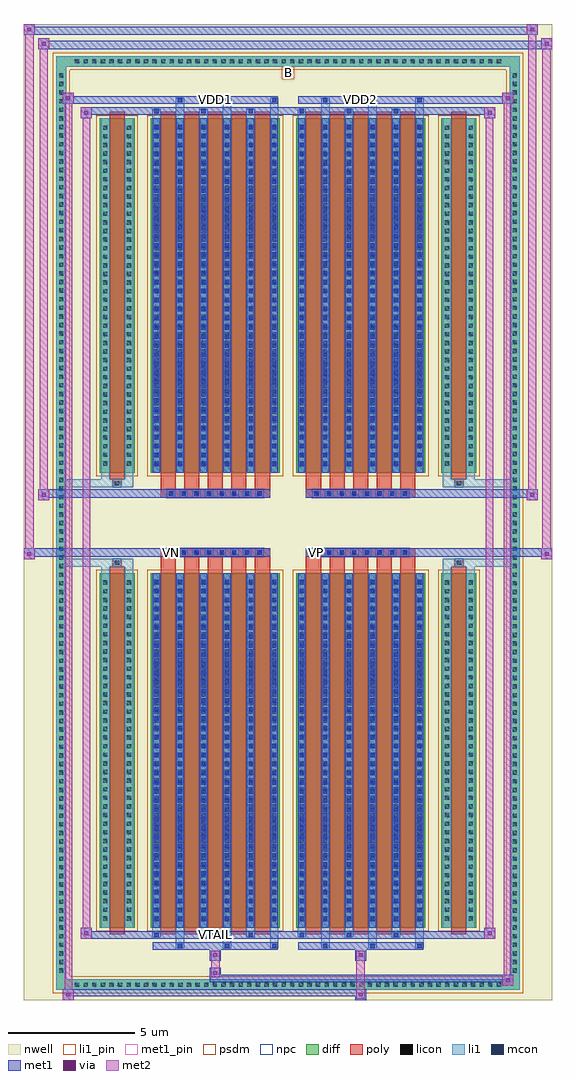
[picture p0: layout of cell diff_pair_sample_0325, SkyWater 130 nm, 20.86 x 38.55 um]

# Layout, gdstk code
import gdstk
lib = gdstk.Library(unit=1e-6, precision=5e-09)
def R(c, l, rs):  # rectangles x0, y0, x1, y1
    for r in rs: c.add(gdstk.rectangle(r[:2], r[2:], *l))
def A(c, l, x, y, w, h, nx, ny, dx, dy):  # array of equal rectangles
    R(c, l, [(x+i*dx, y+j*dy, x+i*dx+w, y+j*dy+h) for i in range(nx) for j in range(ny)])
def P(c, l, *ps):  # polygons
    for p in ps: c.add(gdstk.Polygon(p, *l))
nwell = (64, 20)
diff = (65, 20)
poly = (66, 20)
licon = (66, 44)
li1_pin = (67, 16)
li1 = (67, 20)
mcon = (67, 44)
met1_pin = (68, 16)
met1 = (68, 20)
via = (68, 44)
met2 = (69, 20)
psdm = (94, 20)
npc = (95, 20)

diff_pair_sample_0325 = lib.new_cell('diff_pair_sample_0325')
R(diff_pair_sample_0325, nwell, [(-10.43,-18.84,10.43,19.71), (-7.75,-17.03,-0.01,-0.805), (0.01,-17.03,7.75,-0.805), (-7.75,0.805,-0.01,17.03), (0.01,0.805,7.75,17.03)])
A(diff_pair_sample_0325, diff, -8.535, -18.44, 0.41, 0.41, 50, 2, 0.34, 36.47)
A(diff_pair_sample_0325, diff, -9.16, -17.885, 0.41, 0.41, 1, 105, 0, 0.34)
A(diff_pair_sample_0325, diff, 8.75, -17.885, 0.41, 0.41, 1, 105, 0, 0.34)
R(diff_pair_sample_0325, diff, [(-8.535,-18.44,8.535,-18.03), (-9.16,-17.885,-8.75,17.885), (8.75,-17.885,9.16,17.885), (-7.44,-15.985,-6.06,-1.985), (-5.42,-15.985,-0.32,-1.985), (0.32,-15.985,5.42,-1.985), (6.06,-15.985,7.44,-1.985), (-7.44,1.985,-6.06,15.985), (-5.42,1.985,-0.32,15.985), (0.32,1.985,5.42,15.985), (6.06,1.985,7.44,15.985), (-8.535,18.03,8.535,18.44)])
P(diff_pair_sample_0325, diff, [(9.16,18.44),(-9.16,18.44),(-9.16,-18.03),(-8.75,-18.03),(-8.75,18.03),(8.75,18.03),(8.75,-18.03),(-8.75,-18.03),(-9.16,-18.03),(-9.16,-18.44),(9.16,-18.44)])
A(diff_pair_sample_0325, poly, -5.03, -16.235, 0.6, 14.5, 5, 2, 0.93, 17.97)
A(diff_pair_sample_0325, poly, 0.71, -16.235, 0.6, 14.5, 5, 2, 0.93, 17.97)
A(diff_pair_sample_0325, poly, -5.03, -1.735, 0.6, 0.4, 5, 2, 0.93, 3.07)
A(diff_pair_sample_0325, poly, 0.71, -1.735, 0.6, 0.4, 5, 2, 0.93, 3.07)
A(diff_pair_sample_0325, poly, -4.785, -1.335, 0.33, 0.33, 8, 2, 0.5, 2.34)
A(diff_pair_sample_0325, poly, 0.955, -1.335, 0.33, 0.33, 8, 2, 0.5, 2.34)
R(diff_pair_sample_0325, poly, [(-7.05,-16.235,-6.45,-1.735), (6.45,-16.235,7.05,-1.735), (-6.915,-1.735,-6.585,-1.405), (-6.915,-1.735,-6.585,-1.405), (6.585,-1.735,6.915,-1.405), (6.585,-1.735,6.915,-1.405), (-5.03,-1.335,-0.71,-1.005), (0.71,-1.335,5.03,-1.005), (-5.03,1.005,-0.71,1.335), (0.71,1.005,5.03,1.335), (-6.915,1.405,-6.585,1.735), (-6.915,1.405,-6.585,1.735), (6.585,1.405,6.915,1.735), (6.585,1.405,6.915,1.735), (-7.05,1.735,-6.45,16.235), (6.45,1.735,7.05,16.235)])
A(diff_pair_sample_0325, licon, -8.415, -18.32, 0.17, 0.17, 50, 2, 0.34, 36.47)
A(diff_pair_sample_0325, licon, -9.04, -17.765, 0.17, 0.17, 1, 105, 0, 0.34)
A(diff_pair_sample_0325, licon, 8.87, -17.765, 0.17, 0.17, 1, 105, 0, 0.34)
A(diff_pair_sample_0325, licon, -7.3, -15.7, 0.17, 0.17, 1, 40, 0, 0.34)
A(diff_pair_sample_0325, licon, -6.37, -15.7, 0.17, 0.17, 1, 40, 0, 0.34)
A(diff_pair_sample_0325, licon, -5.28, -15.7, 0.17, 0.17, 6, 40, 0.93, 0.34)
A(diff_pair_sample_0325, licon, 0.46, -15.7, 0.17, 0.17, 6, 40, 0.93, 0.34)
A(diff_pair_sample_0325, licon, 6.2, -15.7, 0.17, 0.17, 1, 40, 0, 0.34)
A(diff_pair_sample_0325, licon, 7.13, -15.7, 0.17, 0.17, 1, 40, 0, 0.34)
A(diff_pair_sample_0325, licon, -4.705, -1.255, 0.17, 0.17, 8, 2, 0.5, 2.34)
A(diff_pair_sample_0325, licon, 1.035, -1.255, 0.17, 0.17, 8, 2, 0.5, 2.34)
A(diff_pair_sample_0325, licon, -7.3, 2.27, 0.17, 0.17, 1, 40, 0, 0.34)
A(diff_pair_sample_0325, licon, -6.37, 2.27, 0.17, 0.17, 1, 40, 0, 0.34)
A(diff_pair_sample_0325, licon, -5.28, 2.27, 0.17, 0.17, 6, 40, 0.93, 0.34)
A(diff_pair_sample_0325, licon, 0.46, 2.27, 0.17, 0.17, 6, 40, 0.93, 0.34)
A(diff_pair_sample_0325, licon, 6.2, 2.27, 0.17, 0.17, 1, 40, 0, 0.34)
A(diff_pair_sample_0325, licon, 7.13, 2.27, 0.17, 0.17, 1, 40, 0, 0.34)
R(diff_pair_sample_0325, licon, [(-6.835,-1.655,-6.665,-1.485), (6.665,-1.655,6.835,-1.485), (-6.835,1.485,-6.665,1.655), (6.665,1.485,6.835,1.655)])
R(diff_pair_sample_0325, li1_pin, [(-0.25,17.53,0.25,18.03)])
A(diff_pair_sample_0325, li1, -8.495, -18.4, 0.33, 0.33, 50, 2, 0.34, 36.47)
A(diff_pair_sample_0325, li1, -9.12, -17.845, 0.33, 0.33, 1, 105, 0, 0.34)
A(diff_pair_sample_0325, li1, 8.79, -17.845, 0.33, 0.33, 1, 105, 0, 0.34)
A(diff_pair_sample_0325, li1, -4.43, -16.79, 0.33, 0.805, 3, 2, 1.86, 32.775)
A(diff_pair_sample_0325, li1, -4.35, -16.79, 0.17, 0.17, 3, 2, 1.86, 33.41)
A(diff_pair_sample_0325, li1, 1.31, -16.79, 0.33, 0.805, 3, 2, 1.86, 32.775)
A(diff_pair_sample_0325, li1, 1.39, -16.79, 0.17, 0.17, 3, 2, 1.86, 33.41)
A(diff_pair_sample_0325, li1, -5.36, -16.36, 0.33, 0.375, 3, 2, 1.86, 32.345)
A(diff_pair_sample_0325, li1, -5.28, -16.36, 0.17, 0.17, 3, 2, 1.86, 32.55)
A(diff_pair_sample_0325, li1, 0.38, -16.36, 0.33, 0.375, 3, 2, 1.86, 32.345)
A(diff_pair_sample_0325, li1, 0.46, -16.36, 0.17, 0.17, 3, 2, 1.86, 32.55)
A(diff_pair_sample_0325, li1, -5.36, -15.985, 0.33, 14, 6, 2, 0.93, 17.97)
A(diff_pair_sample_0325, li1, 0.38, -15.985, 0.33, 14, 6, 2, 0.93, 17.97)
A(diff_pair_sample_0325, li1, -7.38, -15.78, 0.33, 0.33, 1, 40, 0, 0.34)
A(diff_pair_sample_0325, li1, -6.45, -15.78, 0.33, 0.33, 1, 40, 0, 0.34)
A(diff_pair_sample_0325, li1, -5.36, -15.78, 0.33, 0.33, 6, 40, 0.93, 0.34)
A(diff_pair_sample_0325, li1, 0.38, -15.78, 0.33, 0.33, 6, 40, 0.93, 0.34)
A(diff_pair_sample_0325, li1, 6.12, -15.78, 0.33, 0.33, 1, 40, 0, 0.34)
A(diff_pair_sample_0325, li1, 7.05, -15.78, 0.33, 0.33, 1, 40, 0, 0.34)
A(diff_pair_sample_0325, li1, -5.28, -15.73, 0.17, 0.17, 6, 38, 0.93, 0.36)
A(diff_pair_sample_0325, li1, -5.28, -15.73, 0.17, 13.49, 6, 2, 0.93, 17.97)
A(diff_pair_sample_0325, li1, 0.46, -15.73, 0.17, 0.17, 6, 38, 0.93, 0.36)
A(diff_pair_sample_0325, li1, 0.46, -15.73, 0.17, 13.49, 6, 2, 0.93, 17.97)
A(diff_pair_sample_0325, li1, -4.785, -1.335, 0.33, 0.33, 8, 2, 0.5, 2.34)
A(diff_pair_sample_0325, li1, 0.955, -1.335, 0.33, 0.33, 8, 2, 0.5, 2.34)
A(diff_pair_sample_0325, li1, -7.38, 2.19, 0.33, 0.33, 1, 40, 0, 0.34)
A(diff_pair_sample_0325, li1, -6.45, 2.19, 0.33, 0.33, 1, 40, 0, 0.34)
A(diff_pair_sample_0325, li1, -5.36, 2.19, 0.33, 0.33, 6, 40, 0.93, 0.34)
A(diff_pair_sample_0325, li1, 0.38, 2.19, 0.33, 0.33, 6, 40, 0.93, 0.34)
A(diff_pair_sample_0325, li1, 6.12, 2.19, 0.33, 0.33, 1, 40, 0, 0.34)
A(diff_pair_sample_0325, li1, 7.05, 2.19, 0.33, 0.33, 1, 40, 0, 0.34)
A(diff_pair_sample_0325, li1, -5.28, 2.24, 0.17, 0.17, 6, 38, 0.93, 0.36)
A(diff_pair_sample_0325, li1, 0.46, 2.24, 0.17, 0.17, 6, 38, 0.93, 0.36)
R(diff_pair_sample_0325, li1, [(-9.16,-18.44,-8.75,-18.03), (-9.16,-18.44,-8.75,-18.03), (-8.75,-18.44,8.75,-18.03), (8.75,-18.44,9.16,-18.03), (8.75,-18.44,9.16,-18.03), (-9.16,-18.03,-8.75,18.03), (8.75,-18.03,9.16,18.03), (-7.38,-15.985,-7.05,-1.985), (-6.45,-15.985,-6.12,-1.985), (6.12,-15.985,6.45,-1.985), (7.05,-15.985,7.38,-1.985), (-7.38,-1.985,-7.05,-1.405), (-6.45,-1.985,-6.12,-1.405), (6.12,-1.985,6.45,-1.405), (7.05,-1.985,7.38,-1.405), (-9.16,-1.735,-6.915,-1.405), (-7.38,-1.735,-6.915,-1.405), (-6.915,-1.735,-6.585,-1.405), (-6.585,-1.735,-6.12,-1.405), (6.12,-1.735,6.585,-1.405), (6.585,-1.735,6.915,-1.405), (6.585,-1.735,9.16,-1.405), (6.915,-1.735,7.38,-1.405), (-9.16,1.405,-6.915,1.735), (-7.38,1.405,-6.915,1.735), (-7.38,1.405,-7.05,1.985), (-6.915,1.405,-6.585,1.735), (-6.585,1.405,-6.12,1.735), (-6.45,1.405,-6.12,1.985), (6.12,1.405,6.585,1.735), (6.12,1.405,6.45,1.985), (6.585,1.405,6.915,1.735), (6.585,1.405,9.16,1.735), (6.915,1.405,7.38,1.735), (7.05,1.405,7.38,1.985), (-7.38,1.985,-7.05,15.985), (-6.45,1.985,-6.12,15.985), (6.12,1.985,6.45,15.985), (7.05,1.985,7.38,15.985), (-9.16,18.03,-8.75,18.44), (-9.16,18.03,-8.75,18.44), (-8.75,18.03,8.75,18.44), (8.75,18.03,9.16,18.44), (8.75,18.03,9.16,18.44)])
A(diff_pair_sample_0325, mcon, -4.35, -16.79, 0.17, 0.17, 3, 2, 1.86, 33.41)
A(diff_pair_sample_0325, mcon, 1.39, -16.79, 0.17, 0.17, 3, 2, 1.86, 33.41)
A(diff_pair_sample_0325, mcon, -5.28, -16.36, 0.17, 0.17, 3, 2, 1.86, 32.55)
A(diff_pair_sample_0325, mcon, 0.46, -16.36, 0.17, 0.17, 3, 2, 1.86, 32.55)
A(diff_pair_sample_0325, mcon, -5.28, -15.73, 0.17, 0.17, 6, 38, 0.93, 0.36)
A(diff_pair_sample_0325, mcon, 0.46, -15.73, 0.17, 0.17, 6, 38, 0.93, 0.36)
A(diff_pair_sample_0325, mcon, -4.705, -1.255, 0.17, 0.17, 8, 2, 0.5, 2.34)
A(diff_pair_sample_0325, mcon, 1.035, -1.255, 0.17, 0.17, 8, 2, 0.5, 2.34)
A(diff_pair_sample_0325, mcon, -5.28, 2.24, 0.17, 0.17, 6, 38, 0.93, 0.36)
A(diff_pair_sample_0325, mcon, 0.46, 2.24, 0.17, 0.17, 6, 38, 0.93, 0.36)
R(diff_pair_sample_0325, met1_pin, [(-3.005,-16.4,-2.735,-16.13), (-4.755,-1.295,-4.485,-1.025), (0.985,-1.295,1.255,-1.025), (-3.005,16.58,-2.735,16.85), (2.735,16.58,3.005,16.85)])
A(diff_pair_sample_0325, met1, -4.41, -16.85, 0.29, 0.29, 3, 2, 1.86, 33.41)
A(diff_pair_sample_0325, met1, 1.33, -16.85, 0.29, 0.29, 3, 2, 1.86, 33.41)
A(diff_pair_sample_0325, met1, -5.34, -16.42, 0.29, 0.29, 3, 2, 1.86, 32.55)
A(diff_pair_sample_0325, met1, 0.4, -16.42, 0.29, 0.29, 3, 2, 1.86, 32.55)
A(diff_pair_sample_0325, met1, -5.34, -15.985, 0.29, 14, 6, 2, 0.93, 17.97)
A(diff_pair_sample_0325, met1, 0.4, -15.985, 0.29, 14, 6, 2, 0.93, 17.97)
A(diff_pair_sample_0325, met1, -5.34, -15.79, 0.29, 0.29, 6, 38, 0.93, 0.36)
A(diff_pair_sample_0325, met1, 0.4, -15.79, 0.29, 0.29, 6, 38, 0.93, 0.36)
A(diff_pair_sample_0325, met1, -4.765, -1.315, 0.29, 0.29, 8, 2, 0.5, 2.34)
A(diff_pair_sample_0325, met1, 0.975, -1.315, 0.29, 0.29, 8, 2, 0.5, 2.34)
A(diff_pair_sample_0325, met1, -5.34, 2.18, 0.29, 0.29, 6, 38, 0.93, 0.36)
A(diff_pair_sample_0325, met1, 0.4, 2.18, 0.29, 0.29, 6, 38, 0.93, 0.36)
R(diff_pair_sample_0325, met1, [(-8.89,-18.84,-8.46,-18.41), (2.655,-18.84,3.085,-18.41), (-8.89,-18.7,3.085,-18.41), (8.46,-18.27,8.89,-17.84), (-3.085,-18.13,8.89,-17.84), (-3.085,-17.99,-2.655,-17.56), (-3.085,-17.28,-2.655,-16.85), (2.655,-17.28,3.085,-16.85), (-5.34,-16.85,-0.4,-16.56), (0.4,-16.85,5.34,-16.56), (-8.18,-16.42,-7.75,-15.99), (-8.18,-16.42,-5.34,-16.13), (-5.34,-16.42,-0.4,-16.13), (-0.4,-16.42,0.4,-16.13), (0.4,-16.42,5.34,-16.13), (5.34,-16.42,8.18,-16.13), (7.75,-16.42,8.18,-15.99), (-10.43,-1.435,-10,-1.005), (10,-1.435,10.43,-1.005), (-10.43,-1.335,-0.71,-1.005), (-5.03,-1.335,-0.71,-1.005), (0.71,-1.335,5.03,-1.005), (0.71,-1.335,10.43,-1.005), (-9.86,0.905,-9.43,1.335), (9.43,0.905,9.86,1.335), (-9.86,1.005,-5.03,1.335), (-5.03,1.005,-0.71,1.335), (0.71,1.005,5.03,1.335), (5.03,1.005,9.86,1.335), (-8.18,15.99,-7.75,16.42), (7.75,15.99,8.18,16.42), (-8.18,16.13,-5.34,16.42), (-5.34,16.13,-0.4,16.42), (-0.4,16.13,0.4,16.42), (0.4,16.13,5.34,16.42), (5.34,16.13,8.18,16.42), (-8.89,16.56,-8.46,16.99), (-8.89,16.56,-5.34,16.85), (-5.34,16.56,-0.4,16.85), (0.4,16.56,5.34,16.85), (5.34,16.56,8.89,16.85), (8.46,16.56,8.89,16.99), (-9.86,18.71,-9.43,19.14), (-9.86,18.71,-7.75,19.04), (-7.75,18.71,7.75,19.04), (7.75,18.71,10.43,19.04), (10,18.71,10.43,19.14), (-10.43,19.28,-10,19.71), (-10.43,19.28,-7.75,19.61), (-7.75,19.28,7.75,19.61), (7.75,19.28,9.86,19.61), (9.43,19.28,9.86,19.71)])
R(diff_pair_sample_0325, via, [(-8.75,-18.7,-8.6,-18.55), (2.795,-18.7,2.945,-18.55), (8.6,-18.13,8.75,-17.98), (-2.945,-17.85,-2.795,-17.7), (-2.945,-17.14,-2.795,-16.99), (2.795,-17.14,2.945,-16.99), (-8.04,-16.28,-7.89,-16.13), (7.89,-16.28,8.04,-16.13), (-10.29,-1.295,-10.14,-1.145), (10.14,-1.295,10.29,-1.145), (-9.72,1.045,-9.57,1.195), (9.57,1.045,9.72,1.195), (-8.04,16.13,-7.89,16.28), (7.89,16.13,8.04,16.28), (-8.75,16.7,-8.6,16.85), (8.6,16.7,8.75,16.85), (-9.72,18.85,-9.57,19), (10.14,18.85,10.29,19), (-10.29,19.42,-10.14,19.57), (9.57,19.42,9.72,19.57)])
R(diff_pair_sample_0325, met2, [(-8.89,-18.84,-8.46,-18.41), (-8.82,-18.84,-8.53,16.99), (-8.53,-18.84,-8.46,-18.41), (-8.84,-18.79,-8.51,-18.46), (2.705,-18.79,3.035,-18.46), (2.705,-18.46,3.035,-17.23), (8.46,-18.27,8.89,-17.84), (8.53,-18.27,8.82,16.99), (8.82,-18.27,8.89,-17.84), (8.51,-18.22,8.84,-17.89), (-3.035,-17.94,-2.705,-17.61), (-3.035,-17.61,-2.705,-17.23), (-3.035,-17.23,-2.705,-16.9), (2.705,-17.23,3.035,-16.9), (-8.18,-16.42,-7.75,-15.99), (-8.11,-16.42,-7.82,16.42), (-7.82,-16.42,-7.75,-15.99), (7.75,-16.42,8.18,-15.99), (7.82,-16.42,8.11,16.42), (8.11,-16.42,8.18,-15.99), (-8.13,-16.37,-7.8,-16.04), (7.8,-16.37,8.13,-16.04), (-10.43,-1.435,-10,-1.005), (-10.38,-1.435,-10.05,19.71), (-10.05,-1.435,-10,-1.005), (10,-1.435,10.43,-1.005), (10.05,-1.435,10.38,19.14), (10.38,-1.435,10.43,-1.005), (-10.38,-1.385,-10.05,-1.055), (10.05,-1.385,10.38,-1.055), (-9.86,0.905,-9.43,1.335), (-9.81,0.905,-9.48,19.14), (-9.48,0.905,-9.43,1.335), (9.43,0.905,9.86,1.335), (9.48,0.905,9.81,19.71), (9.81,0.905,9.86,1.335), (-9.81,0.955,-9.48,1.285), (9.48,0.955,9.81,1.285), (-8.18,15.99,-7.75,16.42), (-7.82,15.99,-7.75,16.42), (7.75,15.99,8.18,16.42), (8.11,15.99,8.18,16.42), (-8.13,16.04,-7.8,16.37), (7.8,16.04,8.13,16.37), (-8.89,16.56,-8.46,16.99), (-8.53,16.56,-8.46,16.99), (8.46,16.56,8.89,16.99), (8.82,16.56,8.89,16.99), (-8.84,16.61,-8.51,16.94), (8.51,16.61,8.84,16.94), (-9.86,18.71,-9.43,19.14), (-9.48,18.71,-9.43,19.14), (10,18.71,10.43,19.14), (10.38,18.71,10.43,19.14), (-9.81,18.76,-9.48,19.09), (10.05,18.76,10.38,19.09), (-10.43,19.28,-10,19.71), (-10.05,19.28,-10,19.71), (9.43,19.28,9.86,19.71), (9.81,19.28,9.86,19.71), (-10.38,19.33,-10.05,19.66), (9.48,19.33,9.81,19.66)])
R(diff_pair_sample_0325, psdm, [(-7.57,-16.115,-5.93,-1.855), (-5.55,-16.115,-0.19,-1.855), (0.19,-16.115,5.55,-1.855), (5.93,-16.115,7.57,-1.855), (-7.57,1.855,-5.93,16.115), (-5.55,1.855,-0.19,16.115), (0.19,1.855,5.55,16.115), (5.93,1.855,7.57,16.115)])
P(diff_pair_sample_0325, psdm, [(9.29,18.57),(-9.29,18.57),(-9.29,-17.9),(-8.62,-17.9),(-8.62,17.9),(8.62,17.9),(8.62,-17.9),(-8.62,-17.9),(-9.29,-17.9),(-9.29,-18.57),(9.29,-18.57)])
A(diff_pair_sample_0325, npc, -4.805, -1.355, 0.37, 0.37, 8, 2, 0.5, 2.34)
A(diff_pair_sample_0325, npc, 0.935, -1.355, 0.37, 0.37, 8, 2, 0.5, 2.34)
R(diff_pair_sample_0325, npc, [(-6.935,-1.755,-6.565,-1.385), (6.565,-1.755,6.935,-1.385), (-4.805,-1.355,-3.935,-0.985), (-4.805,-1.355,-3.935,-0.985), (-4.305,-1.355,-3.435,-0.985), (-4.305,-1.355,-3.435,-0.985), (-3.805,-1.355,-2.935,-0.985), (-3.805,-1.355,-2.935,-0.985), (-3.305,-1.355,-2.435,-0.985), (-3.305,-1.355,-2.435,-0.985), (-2.805,-1.355,-1.935,-0.985), (-2.805,-1.355,-1.935,-0.985), (-2.305,-1.355,-1.435,-0.985), (-2.305,-1.355,-1.435,-0.985), (-1.805,-1.355,-0.935,-0.985), (-1.805,-1.355,-0.935,-0.985), (0.935,-1.355,1.805,-0.985), (0.935,-1.355,1.805,-0.985), (1.435,-1.355,2.305,-0.985), (1.435,-1.355,2.305,-0.985), (1.935,-1.355,2.805,-0.985), (1.935,-1.355,2.805,-0.985), (2.435,-1.355,3.305,-0.985), (2.435,-1.355,3.305,-0.985), (2.935,-1.355,3.805,-0.985), (2.935,-1.355,3.805,-0.985), (3.435,-1.355,4.305,-0.985), (3.435,-1.355,4.305,-0.985), (3.935,-1.355,4.805,-0.985), (3.935,-1.355,4.805,-0.985), (-4.805,0.985,-3.935,1.355), (-4.805,0.985,-3.935,1.355), (-4.305,0.985,-3.435,1.355), (-4.305,0.985,-3.435,1.355), (-3.805,0.985,-2.935,1.355), (-3.805,0.985,-2.935,1.355), (-3.305,0.985,-2.435,1.355), (-3.305,0.985,-2.435,1.355), (-2.805,0.985,-1.935,1.355), (-2.805,0.985,-1.935,1.355), (-2.305,0.985,-1.435,1.355), (-2.305,0.985,-1.435,1.355), (-1.805,0.985,-0.935,1.355), (-1.805,0.985,-0.935,1.355), (0.935,0.985,1.805,1.355), (0.935,0.985,1.805,1.355), (1.435,0.985,2.305,1.355), (1.435,0.985,2.305,1.355), (1.935,0.985,2.805,1.355), (1.935,0.985,2.805,1.355), (2.435,0.985,3.305,1.355), (2.435,0.985,3.305,1.355), (2.935,0.985,3.805,1.355), (2.935,0.985,3.805,1.355), (3.435,0.985,4.305,1.355), (3.435,0.985,4.305,1.355), (3.935,0.985,4.805,1.355), (3.935,0.985,4.805,1.355), (-6.935,1.385,-6.565,1.755), (6.565,1.385,6.935,1.755)])
diff_pair_sample_0325.add(gdstk.Label('VTAIL', (-2.87,-16.265), layer=68, texttype=5))
diff_pair_sample_0325.add(gdstk.Label('VN', (-4.62,-1.16), layer=68, texttype=5))
diff_pair_sample_0325.add(gdstk.Label('VP', (1.12,-1.16), layer=68, texttype=5))
diff_pair_sample_0325.add(gdstk.Label('B', (0,17.78), layer=67, texttype=5))
diff_pair_sample_0325.add(gdstk.Label('VDD2', (2.87,16.715), layer=68, texttype=5))
diff_pair_sample_0325.add(gdstk.Label('VDD1', (-2.87,16.715), layer=68, texttype=5))

lib.write_gds('diff_pair_sample_0325.gds')
